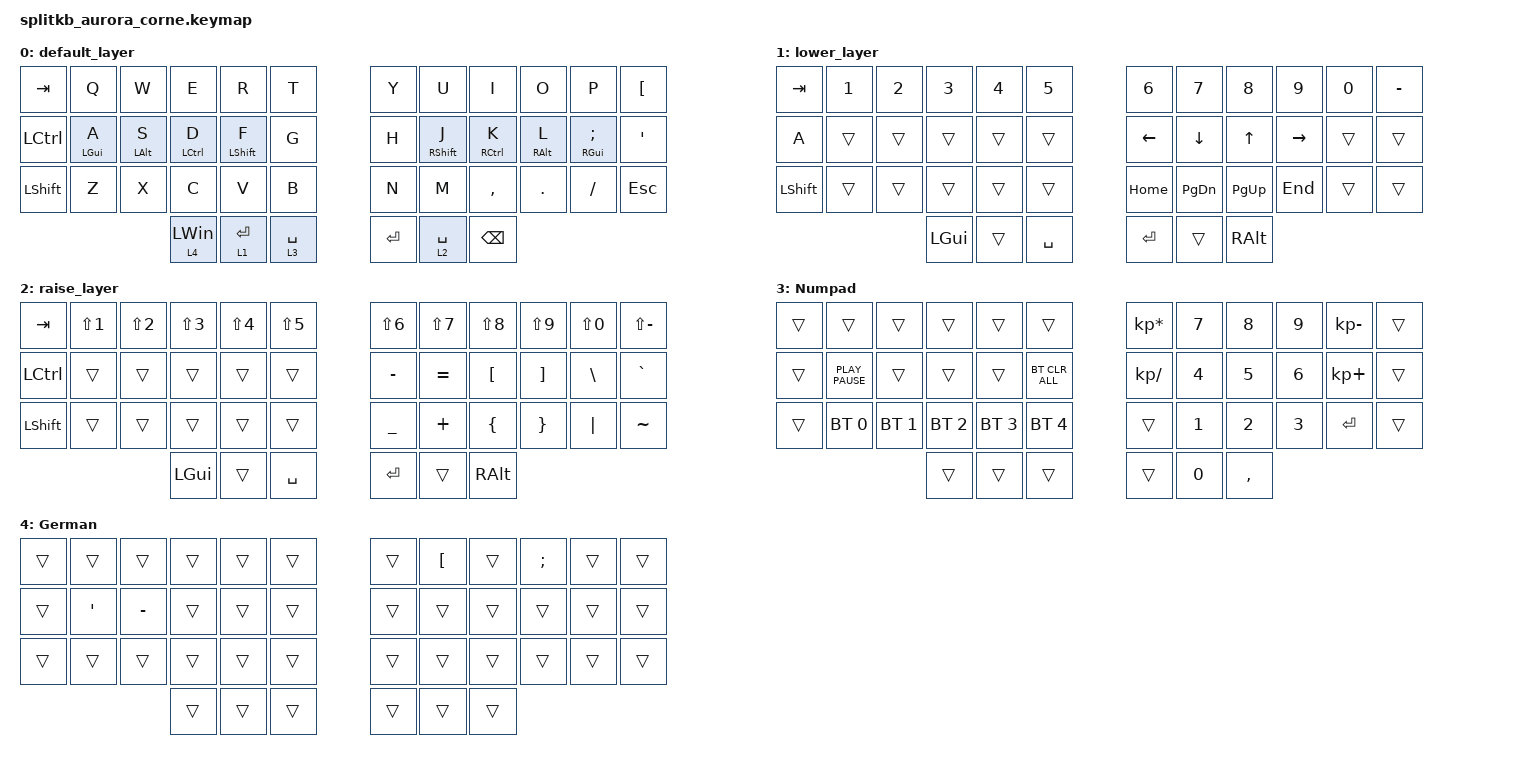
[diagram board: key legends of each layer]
/*
 * Copyright (c) 2020 The ZMK Contributors
 *
 * SPDX-License-Identifier: MIT
 */

#include <behaviors.dtsi>
#include <dt-bindings/zmk/bt.h>
#include <dt-bindings/zmk/keys.h>

/ {
    behaviors {
        hmr: hmr {
            compatible = "zmk,behavior-hold-tap";
            label = "HMR";
            bindings = <&kp>, <&kp>;

            #binding-cells = <2>;
            quick-tap-ms = <175>;
            require-prior-idle-ms = <0>;
            flavor = "balanced";
            hold-trigger-key-positions = <0 1 2 3 4 5 12 13 14 15 16 17 24 25 26 27 28 29 36 37 38 39 40 41>;
            hold-trigger-on-release;
            tapping-term-ms = <280>;
        };

        hml: hml {
            compatible = "zmk,behavior-hold-tap";
            label = "HML";
            bindings = <&kp>, <&kp>;

            #binding-cells = <2>;
            tapping-term-ms = <280>;
            quick-tap-ms = <175>;
            flavor = "balanced";
            hold-trigger-key-positions = <6 7 8 9 10 11 18 19 20 21 22 23 30 31 32 33 34 35 39 40 41 36 37 38>;
            hold-trigger-on-release;
        };

        hml_layer: hml_layer {
            compatible = "zmk,behavior-hold-tap";
            label = "HML_LAYER";
            bindings = <&lt>, <&kp>;

            #binding-cells = <2>;
            flavor = "balanced";
            tapping-term-ms = <280>;
            quick-tap-ms = <175>;
            hold-trigger-on-release;
            hold-trigger-key-positions = <6 7 8 9 10 11 18 19 20 21 22 23 30 31 32 33 34 35 39 40 41 36 37 38>;
        };

        mto: mto {
            compatible = "zmk,behavior-hold-tap";
            label = "Hold Tab Layer";
            bindings = <&mo>, <&kp>;

            #binding-cells = <2>;
            hold-trigger-key-positions = <0 1 2 3 4 5 6 7 8 9 10 11 12 13 14 15 16 17 18 19 20 21 22 23 24 25 26 27 28 29 30 31 32 33 34 35 36 37 38 39 40 41>;
            tapping-term-ms = <280>;
            quick-tap-ms = <175>;
            flavor = "balanced";
        };
    };

    combos {
        compatible = "zmk,combos";

        ClearBTprofile {
            bindings = <&bt BT_CLR>;
            key-positions = <24 25 6>;
        };

        BTprofile0 {
            bindings = <&bt BT_DISC 0>;
            key-positions = <24 25 7>;
        };

        BTprofile1 {
            bindings = <&bt BT_SEL 1>;
            key-positions = <24 25 8>;
        };

        BTprofile2 {
            bindings = <&bt BT_SEL 2>;
            key-positions = <24 25 9>;
        };

        BTprofile3 {
            bindings = <&bt BT_SEL 3>;
            key-positions = <24 25 10>;
        };

        BTprofile4 {
            bindings = <&bt BT_SEL 4>;
            key-positions = <24 25 11>;
        };
    };

    keymap {
        compatible = "zmk,keymap";

        default_layer {
            // -----------------------------------------------------------------------------------------
            // |  TAB |  Q  |  W  |  E  |  R  |  T  |   |  Z  |  U   |  I  |  O  |  P  | BKSP |
            // | CTRL |  A  |  S  |  D  |  F  |  G  |   |  H  |  J   |  K  |  L  |  ;  |  '   |
            // | SHFT |  Y  |  X  |  C  |  V  |  B  |   |  N  |  M   |  ,  |  .  |  /  | ESC  |
            //                    | GUI | LWR | SPC |   | ENT | RSE  | ALT |

            bindings = <
&kp TAB    &kp Q            &kp W        &kp E           &kp R              &kp T           &kp Y    &kp U               &kp I          &kp O             &kp P                &kp LEFT_BRACKET
&kp LCTRL  &hml LEFT_GUI A  &hml LALT S  &hml LCTRL D    &hml LEFT_SHIFT F  &kp G           &kp H    &hmr RIGHT_SHIFT J  &hmr RCTRL K   &hmr RIGHT_ALT L  &hml RIGHT_GUI SEMI  &kp SQT
&kp LSHFT  &kp Z            &kp X        &kp C           &kp V              &kp B           &kp N    &kp M               &kp COMMA      &kp DOT           &kp FSLH             &kp ESC
                                         &lt 4 LEFT_WIN  &mto 1 ENTER       &mto 3 SPACE    &kp RET  &mto 2 SPACE        &kp BACKSPACE
            >;
        };

        lower_layer {
            // -----------------------------------------------------------------------------------------
            // |  TAB |  1  |  2  |  3  |  4  |  5  |   |  6  |  7  |  8  |  9  |  0  | BKSP |
            // | BTCLR| BT1 | BT2 | BT3 | BT4 | BT5 |   | LFT | DWN |  UP | RGT |     |      |
            // | SHFT |     |     |     |     |     |   |     |     |     |     |     |      |
            //                    | GUI |     | SPC |   | ENT |     | ALT |

            bindings = <
&kp TAB    &kp N1  &kp N2  &kp N3    &kp N4  &kp N5       &kp N6    &kp N7         &kp N8       &kp N9     &kp N0  &kp MINUS
&kp A      &trans  &trans  &trans    &trans  &trans       &kp LEFT  &kp DOWN       &kp UP       &kp RIGHT  &trans  &trans
&kp LSHFT  &trans  &trans  &trans    &trans  &trans       &kp HOME  &kp PAGE_DOWN  &kp PAGE_UP  &kp END    &trans  &trans
                           &kp LGUI  &trans  &kp SPACE    &kp RET   &trans         &kp RALT
            >;
        };

        raise_layer {
            // -----------------------------------------------------------------------------------------
            // |  TAB |  !  |  @  |  #  |  $  |  %  |   |  ^  |  &  |  *  |  (  |  )  | BKSP |
            // | CTRL |     |     |     |     |     |   |  -  |  =  |  [  |  ]  |  \  |  `   |
            // | SHFT |     |     |     |     |     |   |  _  |  +  |  {  |  }  | "|" |  ~   |
            //                    | GUI |     | SPC |   | ENT |     | ALT |

            bindings = <
&kp TAB    &kp LS(NUMBER_1)  &kp LS(NUMBER_2)  &kp LS(NUMBER_3)  &kp LS(NUMBER_4)  &kp LS(NUMBER_5)    &kp LS(NUMBER_6)  &kp LS(NUMBER_7)  &kp LS(NUMBER_8)  &kp LS(NUMBER_9)  &kp LS(NUMBER_0)  &kp LS(MINUS)
&kp LCTRL  &trans            &trans            &trans            &trans            &trans              &kp MINUS         &kp EQUAL         &kp LBKT          &kp RBKT          &kp BSLH          &kp GRAVE
&kp LSHFT  &trans            &trans            &trans            &trans            &trans              &kp UNDER         &kp PLUS          &kp LBRC          &kp RBRC          &kp PIPE          &kp TILDE
                                               &kp LGUI          &trans            &kp SPACE           &kp RET           &trans            &kp RALT
            >;
        };

        Numpad {
            bindings = <
&trans  &trans            &trans        &trans        &trans        &trans            &kp KP_MULTIPLY  &kp N7        &kp N8        &kp N9        &kp KP_SUBTRACT  &trans
&trans  &kp K_PLAY_PAUSE  &trans        &trans        &trans        &bt BT_CLR_ALL    &kp KP_DIVIDE    &kp NUMBER_4  &kp N5        &kp NUMBER_6  &kp KP_PLUS      &trans
&trans  &bt BT_SEL 0      &bt BT_SEL 1  &bt BT_SEL 2  &bt BT_SEL 3  &bt BT_SEL 4      &trans           &kp NUMBER_1  &kp NUMBER_2  &kp NUMBER_3  &kp ENTER        &trans
                                        &trans        &trans        &trans            &trans           &kp N0        &kp COMMA
            >;
        };

        German {
            bindings = <
&trans  &trans    &trans     &trans  &trans  &trans    &trans  &kp LEFT_BRACKET  &trans  &kp SEMI  &trans  &trans
&trans  &kp APOS  &kp MINUS  &trans  &trans  &trans    &trans  &trans            &trans  &trans    &trans  &trans
&trans  &trans    &trans     &trans  &trans  &trans    &trans  &trans            &trans  &trans    &trans  &trans
                             &trans  &trans  &trans    &trans  &trans            &trans
            >;
        };
    };
};
